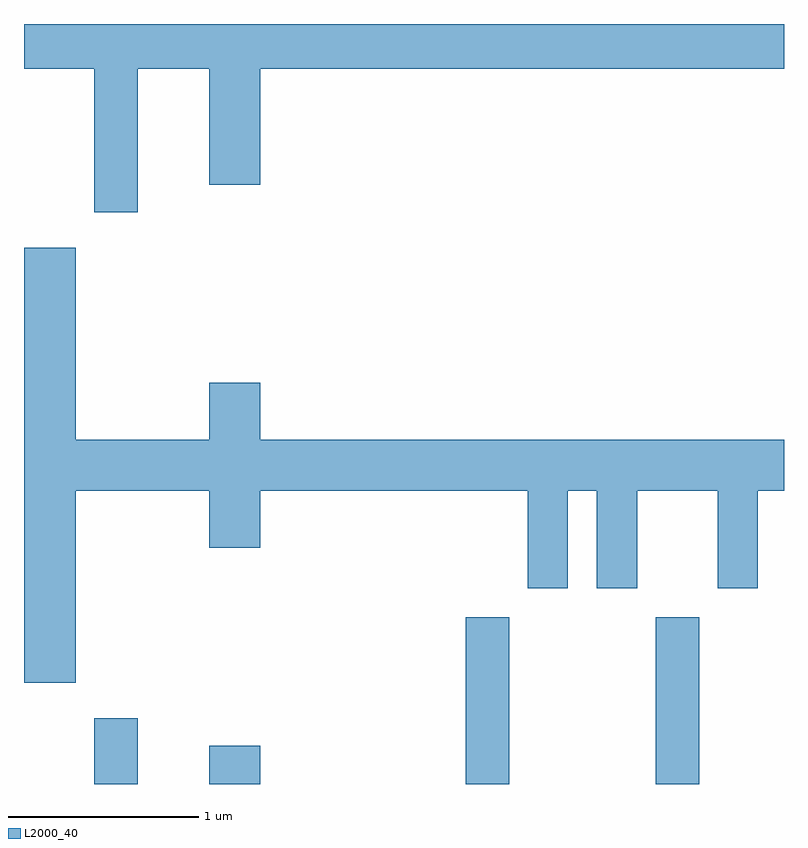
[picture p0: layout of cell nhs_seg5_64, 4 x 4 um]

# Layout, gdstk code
import gdstk
lib = gdstk.Library(unit=1e-6, precision=1e-09)
def R(c, l, rs):  # rectangles x0, y0, x1, y1
    for r in rs: c.add(gdstk.rectangle(r[:2], r[2:], *l))
def P(c, l, *ps):  # polygons
    for p in ps: c.add(gdstk.Polygon(p, *l))
L2000_40 = (2000, 40)

nhs_seg5_64 = lib.new_cell('nhs_seg5_64')
R(nhs_seg5_64, L2000_40, [(185.981,1524.072,186.209,1524.419), (186.586,1524.072,186.854,1524.274), (187.936,1524.072,188.164,1524.949), (188.936,1524.072,189.164,1524.949)])
P(nhs_seg5_64, L2000_40, [(186.209,1527.836),(186.586,1527.836),(186.586,1527.226),(186.854,1527.226),(186.854,1527.836),(189.611,1527.836),(189.611,1528.072),(185.611,1528.072),(185.611,1527.836),(185.981,1527.836),(185.981,1527.081),(186.209,1527.081)],
  [(185.884,1525.616),(186.586,1525.616),(186.586,1525.316),(186.854,1525.316),(186.854,1525.616),(188.261,1525.616),(188.261,1525.101),(188.474,1525.101),(188.474,1525.616),(188.626,1525.616),(188.626,1525.101),(188.839,1525.101),(188.839,1525.616),(189.261,1525.616),(189.261,1525.101),(189.474,1525.101),(189.474,1525.616),(189.611,1525.616),(189.611,1525.884),(186.854,1525.884),(186.854,1526.184),(186.586,1526.184),(186.586,1525.884),(185.884,1525.884),(185.884,1526.894),(185.611,1526.894),(185.611,1524.606),(185.884,1524.606)])

lib.write_gds('nhs_seg5_64.gds')
